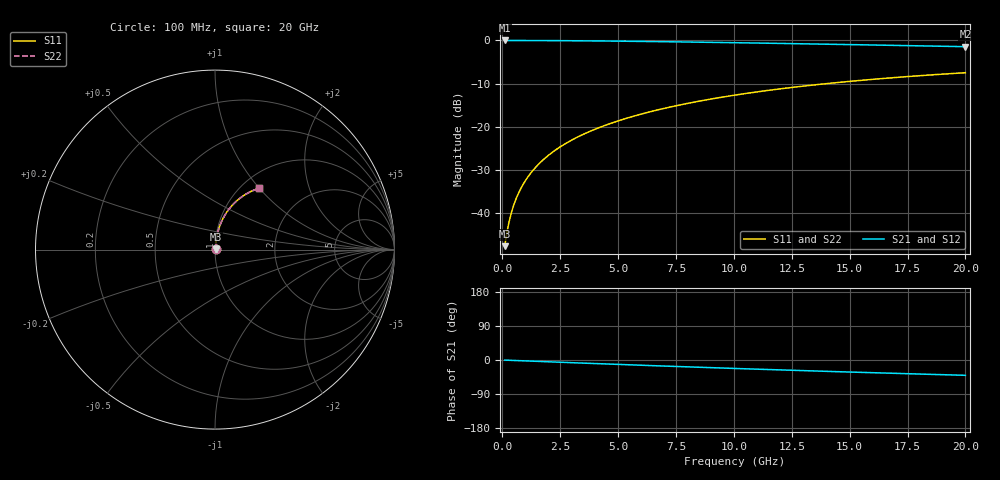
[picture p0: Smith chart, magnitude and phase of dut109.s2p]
! Touchstone file exported from HFSS 2024.1.0
!  File:  C:/UserFiles/LocalFiles/RDL_TSV_Batchsim/temp_RDL_top_109_1778683534.aedt
!  Generated:  10:47:58 PM May 13, 2026
!  Design:  RDL_top
!  Project:  temp_RDL_top_109_1778683534
!  Setup:  Setup1
!  Solution:  Sweep
! Variables:
!  dtsv = 10.80580581um
!  hbump = 3um
!  htsv = 90.01um
!  ldown = 100um
!  lrdl = 531.29um
!  p = 40
!  p1 = 50.45um
!  rhole = 1um
!  t = 450um
!  tdown = 3.915915916um
!  trdl = 3.65um
!  wdown = 15.38538539um
!  wrdl = 15.98um
# GHz S MA R 50.000000
! Terminal data exported
! Port[1] = Box2_T1
! Port[2] = Box2_T2
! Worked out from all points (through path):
!   200 points, 100 MHz to 20 GHz, reference 50 ohm
!   highest |S21| = -0.03 dB at 100 MHz (marker M1); lowest = -1.5 dB at 20 GHz (marker M2)
!   group delay of S21, straight-line fit = 5.6 ps
!   lowest |S11| = -47.6 dB at 100 MHz (marker M3), VSWR 1.01, Z = 50.3 + j0.249 ohm
!   |S11| at or under -10 dB: start of sweep to 14.03 GHz
!   |S22| runs from -47.6 to -7.5 dB; largest |S21 - S12| = 2.4e-15
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0.1  0.004164 36.4  0.9966 -0.2  0.9966 -0.2  0.004164 36.4
! Gamma 0 0 0 0
! Port Impedance 50 0 50 0
0.2  0.005997 54.8  0.9965 -0.5  0.9965 -0.5  0.005997 54.8
0.3  0.008122 63.8  0.9964 -0.7  0.9964 -0.7  0.008122 63.8
0.4  0.01033 68.8  0.9962 -1.0  0.9962 -1.0  0.01033 68.8
0.5  0.01256 72.1  0.9961 -1.2  0.9961 -1.2  0.01256 72.1
0.6  0.01481 74.3  0.9959 -1.4  0.9959 -1.4  0.01481 74.3
0.8  0.01934 77.2  0.9956 -1.9  0.9956 -1.9  0.01934 77.2
1.1  0.02619 79.6  0.9951 -2.6  0.9951 -2.6  0.02619 79.6
1.5  0.03539 81.2  0.9943 -3.6  0.9943 -3.6  0.03539 81.2
1.8  0.04233 81.7  0.9935 -4.3  0.9935 -4.3  0.04233 81.7
2.1  0.04929 82.0  0.9926 -5.0  0.9926 -5.0  0.04929 82.0
2.7  0.06325 82.0  0.9905 -6.4  0.9905 -6.4  0.06325 82.0
3.5  0.08192 81.5  0.987 -8.2  0.987 -8.2  0.08191 81.5
4.2  0.09828 80.8  0.9833 -9.8  0.9833 -9.8  0.09827 80.7
5  0.117 79.7  0.9786 -11.6  0.9786 -11.6  0.117 79.7
5.9  0.138 78.4  0.9726 -13.6  0.9726 -13.6  0.138 78.4
6.8  0.1589 77.0  0.966 -15.6  0.966 -15.6  0.1589 77.0
8.4  0.1956 74.4  0.9533 -19.0  0.9533 -19.0  0.1956 74.3
10.1  0.2337 71.4  0.9386 -22.4  0.9386 -22.4  0.2337 71.3
13.4  0.3036 65.4  0.9082 -28.8  0.9082 -28.8  0.3035 65.4
16.7  0.3667 59.6  0.8764 -34.8  0.8764 -34.8  0.3666 59.6
20  0.4223 54.1  0.8444 -40.4  0.8444 -40.4  0.4221 54.1
